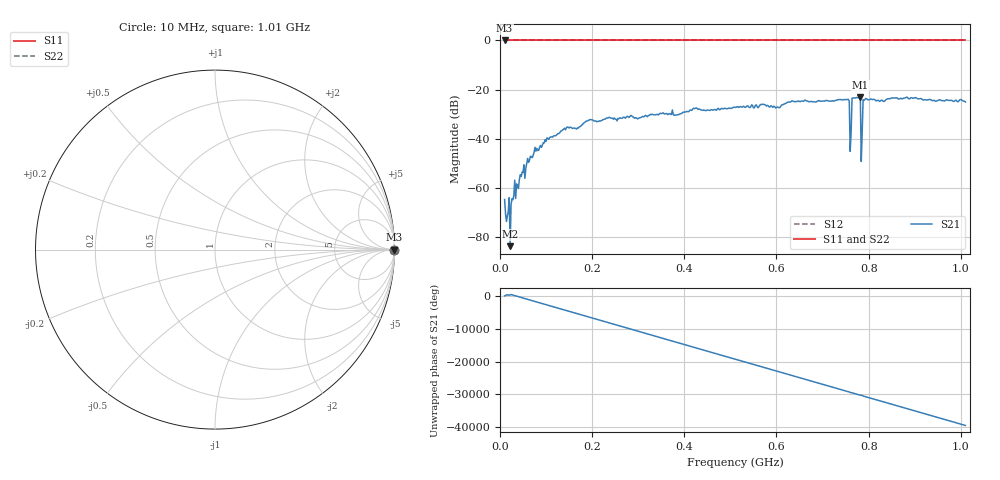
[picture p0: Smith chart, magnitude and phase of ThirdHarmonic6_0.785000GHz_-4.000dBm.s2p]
! 8/16/2025 2:11:31 AM
! C:\ANRITSUVNA\TEMP\TEMP.S2P
! CHANNEL.1
! TR.MEASUREMENT
! RAW.DATA
! RF.CORRECTION.OFF
! AVERAGING.OFF
! IF.BANDWIDTH: 5KHZ
! SWEEPTYPE:  FREQ.SWEEP(Linear)
! Reference Plane Port Info
! PORT:  PORT1  PORT2
! DISTANCE:  0  m  0  m
! TIME:  0  s  0  s
! PHASE.OFFSET:  0  deg.  0  deg.
! LOSS:  0  dB  0  dB
! REF.LOSS:  0  dB  0  dB
! REF.FREQ:  0  Hz  0  Hz
! Power Info
! POWER:  -20  dBm  -20  dBm
! EFF.POWER:  -20  dBm  -20  dBm
! SOURCE.ATTEN:  0  dB  0  dB
! TEST.ATTEN:  0  dB  0  dB
# GHZ S RI R 50.0
! FREQ.GHZ  S11RE  S11IM  S21RE  S21IM  S12RE  S12IM  S22RE  S22IM
!; PortSelection: Port_12
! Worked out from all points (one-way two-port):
!   501 points, 10 MHz to 1.01 GHz, reference 50 ohm
!   highest |S21| = -22.93 dB at 782 MHz (marker M1); lowest = -83.6 dB at 22 MHz (marker M2)
!   lowest |S11| = 0.0 dB at 10 MHz (marker M3)
!   |S11| at or under -10 dB: nowhere
!   |S22| runs from 0.0 to 0.0 dB; largest |S21 - S12| = 1.1
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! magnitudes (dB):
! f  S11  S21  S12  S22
! 10 MHz  0.0  -64.6  0.0  0.0
! 18 MHz  0.0  -69.5  0.0  0.0
! 22 MHz  0.0  -83.6  0.0  0.0
! 26 MHz  0.0  -64.3  0.0  0.0
! 28 MHz  0.0  -64.7  0.0  0.0
! 48 MHz  0.0  -53.5  0.0  0.0
! 76 MHz  0.0  -43.4  0.0  0.0
! 136 MHz  0.0  -36.4  0.0  0.0
! 178 MHz  0.0  -34.3  0.0  0.0
! 344 MHz  0.0  -30.2  0.0  0.0
! 510 MHz  0.0  -27.2  0.0  0.0
! 678 MHz  0.0  -24.9  0.0  0.0
! 754 MHz  0.0  -24.0  0.0  0.0
! 758 MHz  0.0  -24.8  0.0  0.0
! 764 MHz  0.0  -23.4  0.0  0.0
! 768 MHz  0.0  -23.4  0.0  0.0
! 778 MHz  0.0  -23.2  0.0  0.0
! 782 MHz  0.0  -22.9  0.0  0.0
! 788 MHz  0.0  -24.1  0.0  0.0
! 792 MHz  0.0  -23.9  0.0  0.0
! 844 MHz  0.0  -23.7  0.0  0.0
! 1.01 GHz  0.0  -25.0  0.0  0.0
